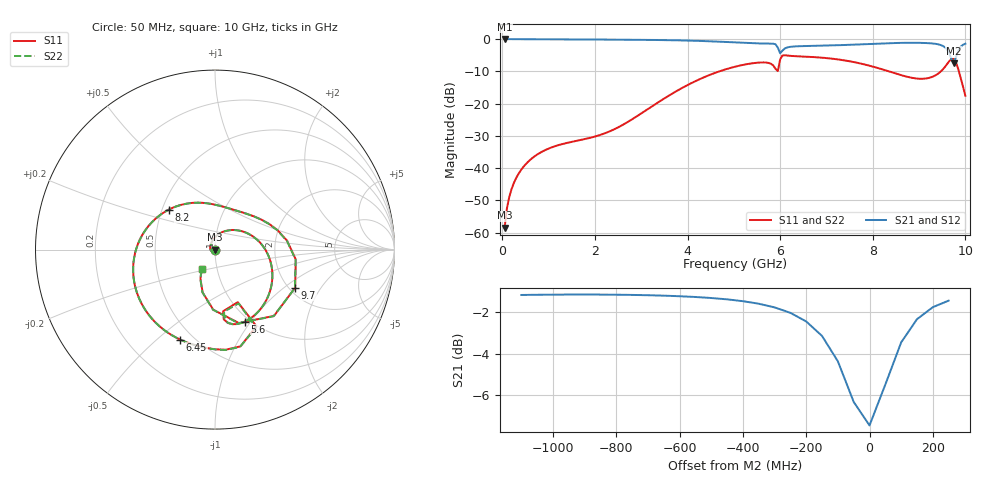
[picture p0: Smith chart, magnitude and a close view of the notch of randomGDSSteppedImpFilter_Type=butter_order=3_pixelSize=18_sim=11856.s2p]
! freq	dB(S11)	phase(S11)	dB(S12)	phase(S12)
!  dB(S21)	phase(S21)	dB(S22)	phase(S22)
!S-par simulation data
#  GHz  S  DB  R 50
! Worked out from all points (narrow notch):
!   200 points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, 50 MHz to 10 GHz, reference 50 ohm
!   highest |S21| = -0.01 dB at 50 MHz (marker M1); lowest = -7.5 dB at 9.75 GHz (marker M2)
!   notch at M2: 6.4 dB deep, 185 MHz wide at half that depth
!   lowest |S11| = -58.4 dB at 50 MHz (marker M3), VSWR 1.00, Z = 50 - j0.12 ohm
!   |S11| at or under -10 dB: start of sweep to 4.689 GHz; 8.345 GHz to 9.47 GHz (1.125 GHz wide, 12.6 % of centre); 9.86 GHz to end of sweep
!   |S22| runs from -58.4 to -5.0 dB; largest |S21 - S12| = 0
!   S11 on the Smith chart (normalised r, x): 50 MHz: 1.00, -0.00; 5.6 GHz: 0.95, -0.94; 6.45 GHz: 0.42, -0.60; 8.2 GHz: 0.54, +0.27; 9.7 GHz: 2.15, -1.21; 10 GHz: 0.84, -0.19
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0.05  -58.45 -88.1  -0.01 -3.0  -0.01 -3.0  -58.45 -88.1
0.2  -46.49 -100.7  -0.03 -11.8  -0.03 -11.8  -46.50 -100.8
0.5  -38.87 -119.5  -0.05 -29.3  -0.05 -29.3  -38.87 -119.7
1.75  -31.09 163.5  -0.12 -102.6  -0.12 -102.6  -31.08 162.4
2.65  -26.19 109.7  -0.20 -156.0  -0.20 -156.0  -26.18 108.7
3.4  -19.29 66.0  -0.30 158.5  -0.30 158.5  -19.29 65.5
4.25  -12.51 14.6  -0.57 106.0  -0.57 106.0  -12.51 14.5
5.05  -8.48 -34.1  -1.05 56.6  -1.05 56.6  -8.48 -34.0
5.6  -7.25 -67.5  -1.37 22.7  -1.37 22.7  -7.24 -67.3
5.9  -9.21 -82.5  -1.62 -2.7  -1.62 -2.7  -9.13 -81.7
6  -6.28 -61.6  -4.41 -4.3  -4.41 -4.3  -6.18 -62.2
6.45  -5.39 -111.1  -2.20 -22.1  -2.20 -22.1  -5.39 -111.1
6.7  -5.56 -126.2  -2.13 -36.9  -2.13 -36.9  -5.56 -126.1
7.5  -6.89 -174.4  -1.77 -84.7  -1.77 -84.7  -6.88 -174.3
8.2  -9.36 139.1  -1.34 -130.0  -1.34 -130.0  -9.36 139.3
8.35  -10.02 128.3  -1.27 -140.3  -1.27 -140.3  -10.02 128.5
9.1  -12.29 69.3  -1.20 164.8  -1.20 164.8  -12.29 69.3
9.5  -9.60 26.2  -2.03 129.1  -2.03 129.1  -9.61 25.9
9.7  -6.12 -25.4  -6.32 114.6  -6.32 114.6  -6.12 -25.7
9.75  -6.12 -48.4  -7.46 130.8  -7.46 130.8  -6.12 -48.7
9.85  -9.50 -91.6  -3.46 140.9  -3.46 140.9  -9.50 -92.0
10  -17.60 -124.0  -1.44 120.8  -1.44 120.8  -17.58 -124.2
